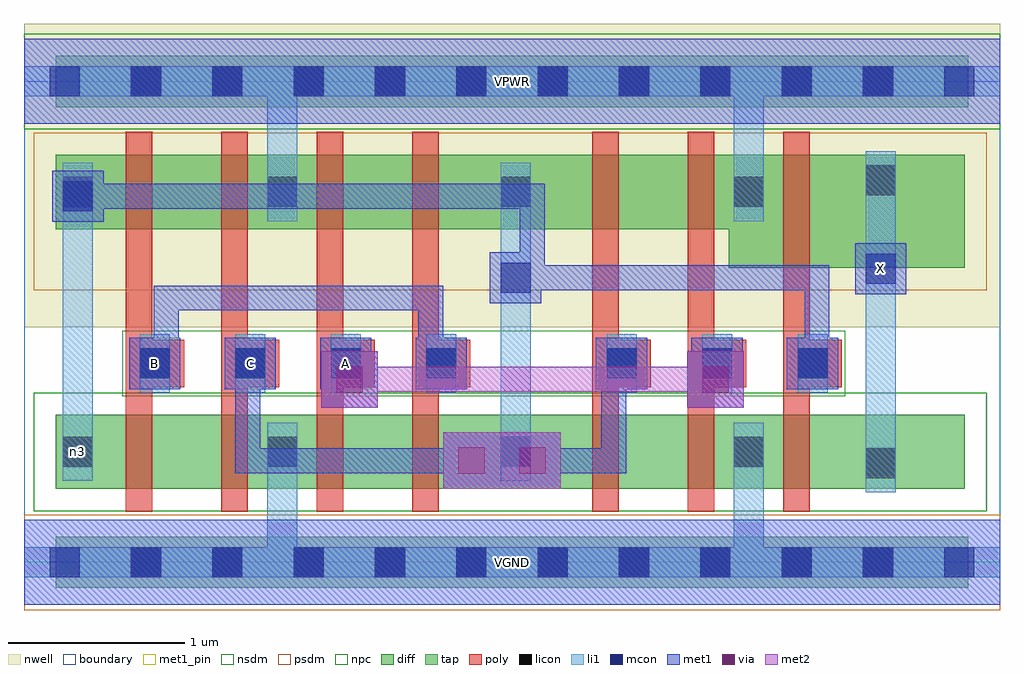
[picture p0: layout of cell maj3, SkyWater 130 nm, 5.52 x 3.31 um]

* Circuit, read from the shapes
.subckt maj3 A B C VGND VPWR X n3
XM1 n1 B n3 VGND sky130_fd_pr__nfet_01v8 w=0.42 l=0.15
XM2 VGND C n1 VGND sky130_fd_pr__nfet_01v8 w=0.42 l=0.15
XM3 n2 A VGND VGND sky130_fd_pr__nfet_01v8 w=0.42 l=0.15
XM4 n3 B n2 VGND sky130_fd_pr__nfet_01v8 w=0.42 l=0.15
XM5 n4 C n3 VGND sky130_fd_pr__nfet_01v8 w=0.42 l=0.15
XM6 VGND A n4 VGND sky130_fd_pr__nfet_01v8 w=0.42 l=0.15
XM7 X n3 VGND VGND sky130_fd_pr__nfet_01v8 w=0.42 l=0.15
XM8 n5 B n3 VPWR sky130_fd_pr__pfet_01v8 w=0.42 l=0.15
XM9 VPWR C n5 VPWR sky130_fd_pr__pfet_01v8 w=0.42 l=0.15
XM10 n6 A VPWR VPWR sky130_fd_pr__pfet_01v8 w=0.42 l=0.15
XM11 n3 B n6 VPWR sky130_fd_pr__pfet_01v8 w=0.42 l=0.15
XM12 n7 C n3 VPWR sky130_fd_pr__pfet_01v8 w=0.42 l=0.15
XM13 VPWR A n7 VPWR sky130_fd_pr__pfet_01v8 w=0.42 l=0.15
XM14 X n3 VPWR VPWR sky130_fd_pr__pfet_01v8 w=0.64 l=0.15
.ends

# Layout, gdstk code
import gdstk
lib = gdstk.Library(unit=1e-6, precision=1e-09)
def R(c, l, rs):  # rectangles x0, y0, x1, y1
    for r in rs: c.add(gdstk.rectangle(r[:2], r[2:], *l))
def A(c, l, x, y, w, h, nx, ny, dx, dy):  # array of equal rectangles
    R(c, l, [(x+i*dx, y+j*dy, x+i*dx+w, y+j*dy+h) for i in range(nx) for j in range(ny)])
nwell = (64, 20)
diff = (65, 20)
tap = (65, 44)
poly = (66, 20)
licon = (66, 44)
li1 = (67, 20)
mcon = (67, 44)
met1_pin = (68, 16)
met1 = (68, 20)
via = (68, 44)
met2 = (69, 20)
nsdm = (93, 44)
psdm = (94, 20)
npc = (95, 20)
boundary = (235, 4)

maj3 = lib.new_cell('maj3')
R(maj3, nwell, [(0,1.33,5.52,3.045)])
R(maj3, diff, [(0.18,0.415,4.295,0.835), (3.985,0.415,5.32,0.835), (3.985,1.665,5.32,2.305), (0.18,1.885,4.295,2.305)])
R(maj3, tap, [(0.18,-0.145,5.34,0.145), (0.18,2.575,5.34,2.865)])
A(maj3, poly, 0.575, 0.285, 0.15, 2.15, 4, 1, 0.54, 0)
A(maj3, poly, 3.215, 0.285, 0.15, 2.15, 3, 1, 0.54, 0)
A(maj3, poly, 0.575, 0.99, 0.33, 0.27, 4, 1, 0.54, 0)
A(maj3, poly, 3.215, 0.99, 0.33, 0.27, 3, 1, 0.54, 0)
A(maj3, licon, 0.605, -0.085, 0.17, 0.17, 10, 2, 0.46, 2.72)
A(maj3, licon, 1.375, 0.54, 0.17, 0.17, 3, 2, 1.32, 1.47)
A(maj3, licon, 0.655, 1.04, 0.17, 0.17, 4, 1, 0.54, 0)
A(maj3, licon, 3.295, 1.04, 0.17, 0.17, 3, 1, 0.54, 0)
R(maj3, licon, [(4.76,0.475,4.93,0.645), (0.22,0.54,0.39,0.71), (0.22,2.01,0.39,2.18), (4.76,2.075,4.93,2.245)])
A(maj3, li1, 1.375, 0.46, 0.17, 0.33, 3, 2, 1.32, 1.47)
A(maj3, li1, 0.655, 0.96, 0.17, 0.33, 4, 1, 0.54, 0)
A(maj3, li1, 3.295, 0.96, 0.17, 0.33, 3, 1, 0.54, 0)
R(maj3, li1, [(0,-0.085,5.52,0.085), (1.375,-0.085,1.545,0.79), (4.015,-0.085,4.185,0.79), (4.76,0.395,4.93,0.725), (4.76,0.395,4.93,2.325), (0.22,0.46,0.39,0.79), (0.22,0.46,0.39,2.26), (2.695,0.46,2.865,2.26), (0.22,1.93,0.39,2.26), (1.375,1.93,1.545,2.805), (4.015,1.93,4.185,2.805), (4.76,1.995,4.93,2.325), (0,2.635,5.52,2.805)])
A(maj3, mcon, 0.145, -0.085, 0.17, 0.17, 12, 2, 0.46, 2.72)
A(maj3, mcon, 0.655, 1.04, 0.17, 0.17, 4, 1, 0.54, 0)
A(maj3, mcon, 3.295, 1.04, 0.17, 0.17, 3, 1, 0.54, 0)
R(maj3, mcon, [(2.695,1.525,2.865,1.695), (4.76,1.575,4.93,1.745), (0.22,1.985,0.39,2.155)])
A(maj3, met1_pin, 0.595, 0.98, 0.29, 0.29, 3, 1, 0.54, 0)
R(maj3, met1_pin, [(0,-0.24,5.52,0.24), (4.7,1.515,4.99,1.805), (0,2.48,5.52,2.96)])
A(maj3, met1, 0.595, 0.98, 0.29, 0.29, 4, 1, 0.54, 0)
A(maj3, met1, 3.235, 0.98, 0.29, 0.29, 3, 1, 0.54, 0)
A(maj3, met1, 3.265, 1.08, 0.14, 0.14, 3, 1, 0.575, 0)
R(maj3, met1, [(0,-0.24,5.52,0.24), (2.37,0.415,2.69,0.735), (2.69,0.415,2.715,0.735), (2.715,0.415,3.035,0.735), (1.195,0.505,1.335,1.22), (1.195,0.505,2.6,0.645), (2.6,0.505,2.715,0.645), (2.69,0.505,2.805,0.645), (2.805,0.505,3.405,0.645), (3.265,0.505,3.405,1.22), (1.68,0.875,2,1.195), (3.75,0.875,4.07,1.195), (1.77,0.965,1.91,1.22), (3.84,0.965,3.98,1.22), (0.735,1.08,0.875,1.22), (0.735,1.08,0.875,1.565), (1.195,1.08,1.335,1.22), (1.77,1.08,1.91,1.22), (2.23,1.08,2.37,1.22), (2.23,1.08,2.37,1.565), (4.415,1.08,4.555,1.68), (0.735,1.425,2.37,1.565), (2.635,1.465,2.925,1.755), (4.7,1.515,4.99,1.805), (2.71,1.54,2.945,1.68), (2.805,1.54,2.945,2.14), (2.805,1.54,4.555,1.68), (0.16,1.925,0.45,2.215), (0.235,2,0.53,2.14), (0.39,2,2.945,2.14), (0,2.48,5.52,2.96)])
R(maj3, via, [(2.455,0.5,2.605,0.65), (2.8,0.5,2.95,0.65), (1.765,0.96,1.915,1.11), (3.835,0.96,3.985,1.11)])
R(maj3, met2, [(2.37,0.415,2.69,0.735), (2.69,0.415,2.715,0.735), (2.715,0.415,3.035,0.735), (2.46,0.505,2.945,0.645), (1.68,0.875,2,1.195), (3.75,0.875,4.07,1.195), (1.77,0.965,3.98,1.105)])
R(maj3, nsdm, [(0.055,0.29,5.445,0.96), (0,2.45,5.52,2.99)])
R(maj3, psdm, [(0,-0.27,5.52,0.27), (0.055,1.54,5.445,2.43)])
R(maj3, npc, [(0.555,0.94,4.645,1.31)])
R(maj3, boundary, [(0,0,5.52,2.72)])
maj3.add(gdstk.Label('n3', (0.305,0.625), layer=67, texttype=5))
maj3.add(gdstk.Label('A', (1.82,1.125), layer=68, texttype=5))
maj3.add(gdstk.Label('B', (0.74,1.125), layer=68, texttype=5))
maj3.add(gdstk.Label('C', (1.28,1.125), layer=68, texttype=5))
maj3.add(gdstk.Label('X', (4.845,1.66), layer=68, texttype=5))
maj3.add(gdstk.Label('VPWR', (2.76,2.72), layer=68, texttype=5))
maj3.add(gdstk.Label('VGND', (2.76,0), layer=68, texttype=5))
maj3.add(gdstk.Label('A', (1.82,1.125), layer=68, texttype=16))
maj3.add(gdstk.Label('B', (0.74,1.125), layer=68, texttype=16))
maj3.add(gdstk.Label('C', (1.28,1.125), layer=68, texttype=16))
maj3.add(gdstk.Label('X', (4.845,1.66), layer=68, texttype=16))
maj3.add(gdstk.Label('VPWR', (2.76,2.72), layer=68, texttype=16))
maj3.add(gdstk.Label('VGND', (2.76,0), layer=68, texttype=16))

lib.write_gds('maj3.gds')
